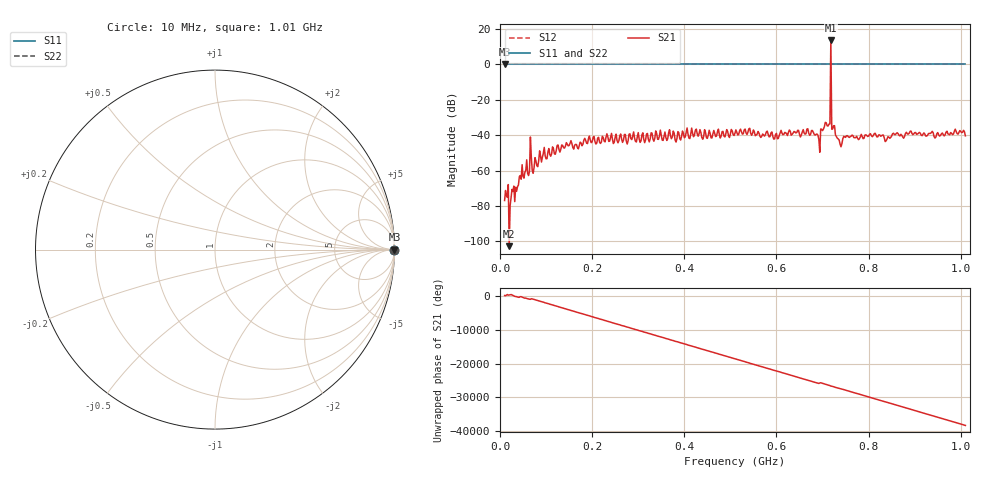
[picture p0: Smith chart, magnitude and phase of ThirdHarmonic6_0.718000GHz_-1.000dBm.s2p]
! 8/16/2025 12:00:58 AM
! C:\ANRITSUVNA\TEMP\TEMP.S2P
! CHANNEL.1
! TR.MEASUREMENT
! RAW.DATA
! RF.CORRECTION.OFF
! AVERAGING.OFF
! IF.BANDWIDTH: 5KHZ
! SWEEPTYPE:  FREQ.SWEEP(Linear)
! Reference Plane Port Info
! PORT:  PORT1  PORT2
! DISTANCE:  0  m  0  m
! TIME:  0  s  0  s
! PHASE.OFFSET:  0  deg.  0  deg.
! LOSS:  0  dB  0  dB
! REF.LOSS:  0  dB  0  dB
! REF.FREQ:  0  Hz  0  Hz
! Power Info
! POWER:  -20  dBm  -20  dBm
! EFF.POWER:  -20  dBm  -20  dBm
! SOURCE.ATTEN:  0  dB  0  dB
! TEST.ATTEN:  0  dB  0  dB
# GHZ S RI R 50.0
! FREQ.GHZ  S11RE  S11IM  S21RE  S21IM  S12RE  S12IM  S22RE  S22IM
!; PortSelection: Port_12
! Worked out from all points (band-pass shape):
!   501 points, 10 MHz to 1.01 GHz, reference 50 ohm
!   highest |S21| = 13.57 dB at 718 MHz (marker M1); lowest = -102.7 dB at 20 MHz (marker M2)
!   |S21| within 3 dB of the highest: 717.8727 MHz to 718.1195 MHz (246.8 kHz wide, 0.0344 % of centre)
!   lowest |S11| = 0.0 dB at 10 MHz (marker M3)
!   |S11| at or under -10 dB: nowhere
!   |S22| runs from 0.0 to 0.0 dB; largest |S21 - S12| = 4.1
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0.01  1 0  -0.000143 5.3e-06  1 0  1 0
0.02  1 0  7.1e-06 -1.7e-06  1 0  1 0
0.036  1 0  -0.000255 -5.03e-05  1 0  1 0
0.044  1 0  -0.0007 -0.000183  1 0  1 0
0.06  1 0  0.000117 -0.000821  1 0  1 0
0.062  1 0  -0.000392 -0.000611  1 0  1 0
0.074  1 0  5.84e-05 0.00123  1 0  1 0
0.092  1 0  0.000106 0.0024  1 0  1 0
0.178  1 0  -0.00503 -0.000251  1 0  1 0
0.344  1 0  0.00672 -0.00366  1 0  1 0
0.51  1 0  -0.00919 0.00691  1 0  1 0
0.678  1 0  -0.0121 -0.00625  1 0  1 0
0.69  1 0  -0.00104 0.01  1 0  1 0
0.712  1 0  1.02e-05 -0.0182  1 0  1 0
0.714  1 0  -0.0206 -0.00179  1 0  1 0
0.718  1 0  3.38 -3.362  1 0  1 0
0.722  1 0  -0.0107 -0.0107  1 0  1 0
0.724  1 0  -0.0134 0.0128  1 0  1 0
0.738  1 0  0.00113 -0.00552  1 0  1 0
0.75  1 0  -0.00862 -0.00108  1 0  1 0
0.844  1 0  0.00819 0.00317  1 0  1 0
1.01  1 0  -0.00952 0.00118  1 0  1 0
